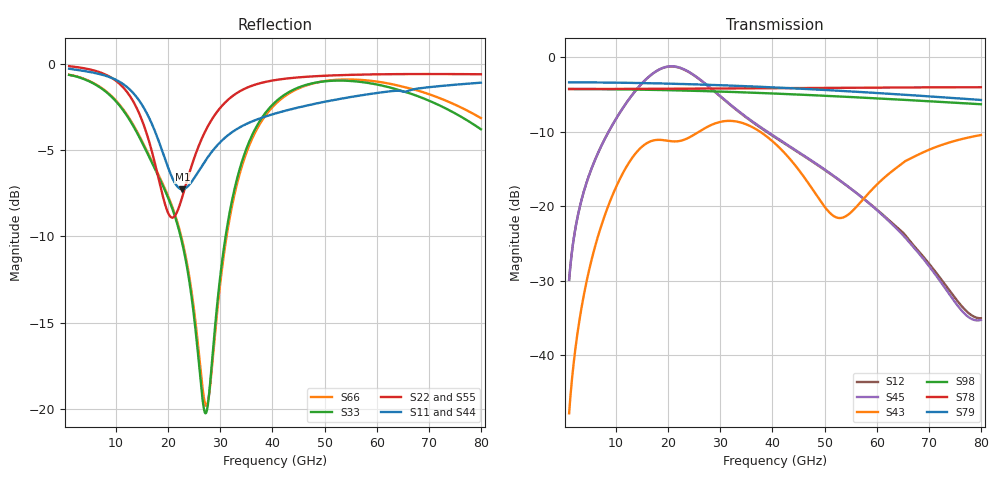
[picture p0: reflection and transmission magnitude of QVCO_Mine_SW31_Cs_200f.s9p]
! Touchstone Ver. 1.0
! Number of ports is 9
# Hz	S	RI	R	50.000000
! SCATTERING PARAMETERS  :
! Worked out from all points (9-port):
!   1001 points, 1 GHz to 80 GHz, reference 50 ohm
!   strongest paths, dB at 1 GHz, 20.75 GHz, 40.5 GHz, 60.25 GHz, 80 GHz:
!     S79: -3.4, -3.6, -4.1, -4.8, -5.8
!     S78: -4.3, -4.2, -4.2, -4.1, -4.0
!     S98: -4.3, -4.4, -4.9, -5.5, -6.3
!     S43: -47.8, -11.3, -11.6, -17.0, -10.5
!     S45: -29.9, -1.2, -10.7, -20.7, -35.3
!     S12: -29.9, -1.3, -10.8, -20.6, -35.0
!   lowest |S11| = -7.3 dB at 22.73 GHz (marker M1), VSWR 2.53, Z = 38.4 + j40.5 ohm
!   |S11| at or under -10 dB: nowhere
